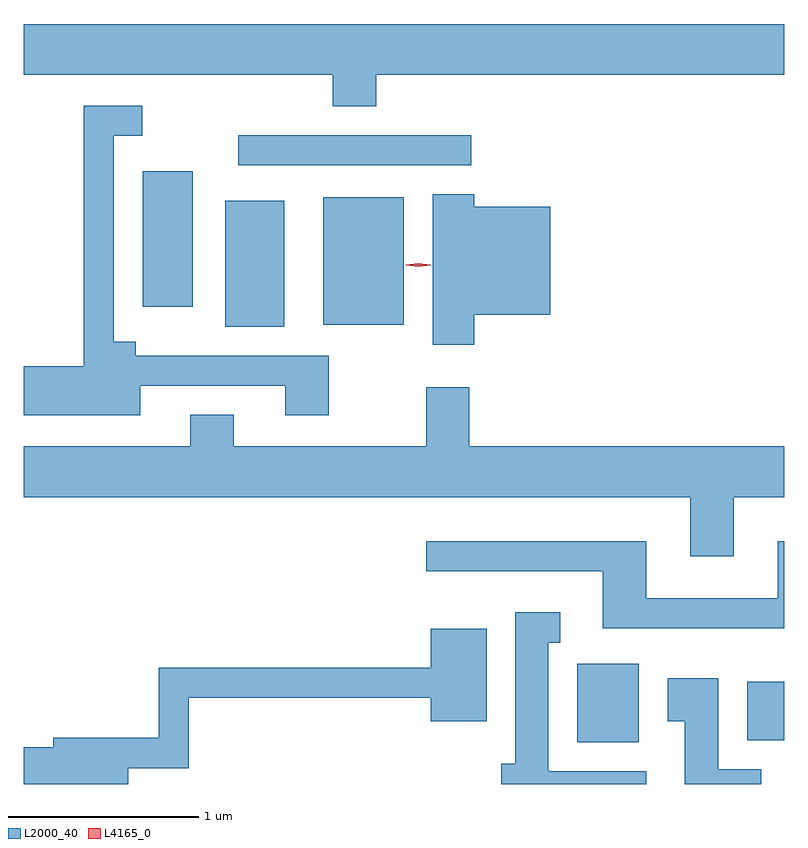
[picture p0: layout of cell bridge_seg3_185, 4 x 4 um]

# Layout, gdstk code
import gdstk
lib = gdstk.Library(unit=1e-6, precision=1e-09)
def R(c, l, rs):  # rectangles x0, y0, x1, y1
    for r in rs: c.add(gdstk.rectangle(r[:2], r[2:], *l))
def P(c, l, *ps):  # polygons
    for p in ps: c.add(gdstk.Polygon(p, *l))
L2000_40 = (2000, 40)
L4165_0 = (4165, 0)

bridge_seg3_185 = lib.new_cell('bridge_seg3_185')
R(bridge_seg3_185, L2000_40, [(771.036,1144.706,771.359,1145.119), (771.931,1144.716,772.125,1145.024), (769.186,1146.891,769.494,1147.554), (769.701,1146.901,770.124,1147.574), (768.751,1146.996,769.014,1147.709), (769.253,1147.741,770.478,1147.899)])
P(bridge_seg3_185, L2000_40, [(769.979,1148.216),(772.125,1148.216),(772.125,1148.484),(768.125,1148.484),(768.125,1148.216),(769.751,1148.216),(769.751,1148.051),(769.979,1148.051)],
  [(768.739,1146.581),(769.501,1146.581),(769.501,1146.426),(769.729,1146.426),(769.729,1146.739),(768.714,1146.739),(768.714,1146.814),(768.599,1146.814),(768.599,1147.896),(768.748,1147.896),(768.748,1148.054),(768.441,1148.054),(768.441,1146.684),(768.125,1146.684),(768.125,1146.426),(768.739,1146.426)],
  [(770.494,1146.956),(770.894,1146.956),(770.894,1147.524),(770.494,1147.524),(770.494,1147.589),(770.276,1147.589),(770.276,1146.796),(770.494,1146.796)],
  [(771.859,1145.996),(772.125,1145.996),(772.125,1146.264),(770.469,1146.264),(770.469,1146.574),(770.241,1146.574),(770.241,1146.264),(769.229,1146.264),(769.229,1146.429),(769.001,1146.429),(769.001,1146.264),(768.125,1146.264),(768.125,1145.996),(771.631,1145.996),(771.631,1145.686),(771.859,1145.686)],
  [(772.125,1145.764),(772.091,1145.764),(772.091,1145.464),(771.399,1145.464),(771.399,1145.764),(770.243,1145.764),(770.243,1145.606),(771.171,1145.606),(771.171,1145.306),(772.125,1145.306)],
  [(771.399,1144.554),(770.89,1144.554),(770.89,1144.56),(770.884,1144.56),(770.884,1145.231),(770.948,1145.231),(770.948,1145.389),(770.711,1145.389),(770.711,1144.594),(770.636,1144.594),(770.636,1144.487),(771.399,1144.487)],
  [(768.674,1144.571),(768.994,1144.571),(768.994,1144.941),(770.266,1144.941),(770.266,1144.816),(770.559,1144.816),(770.559,1145.304),(770.266,1145.304),(770.266,1145.099),(768.836,1145.099),(768.836,1144.729),(768.281,1144.729),(768.281,1144.679),(768.125,1144.679),(768.125,1144.487),(768.674,1144.487)],
  [(772.004,1144.564),(771.779,1144.564),(771.779,1145.044),(771.511,1145.044),(771.511,1144.816),(771.601,1144.816),(771.601,1144.487),(772.004,1144.487)])
P(bridge_seg3_185, L4165_0, [(770.2,1147.207),(770.134,1147.216),(770.134,1147.216),(770.134,1147.217),(770.2,1147.226),(770.265,1147.217),(770.266,1147.217),(770.265,1147.216)])

lib.write_gds('bridge_seg3_185.gds')
